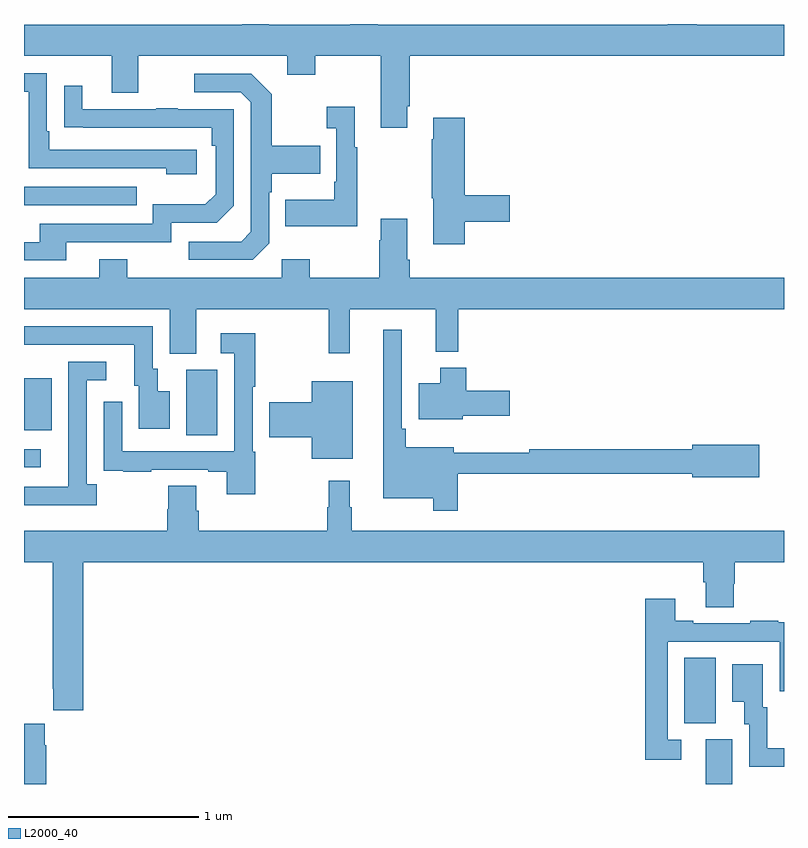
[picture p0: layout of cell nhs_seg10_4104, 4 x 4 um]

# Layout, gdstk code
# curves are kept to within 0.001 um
import gdstk
lib = gdstk.Library(unit=1e-6, precision=1e-09)
def R(c, l, rs):  # rectangles x0, y0, x1, y1
    for r in rs: c.add(gdstk.rectangle(r[:2], r[2:], *l))
def P(c, l, *ps):  # polygons
    for p in ps: c.add(gdstk.Polygon(p, *l))
L2000_40 = (2000, 40)

nhs_seg10_4104 = lib.new_cell('nhs_seg10_4104')
R(nhs_seg10_4104, L2000_40, [(342.587,1280.5,342.727,1280.736), (342.476,1280.821,342.64,1281.164), (339,1282.167,339.088,1282.263), (339.854,1282.336,340.018,1282.68), (339,1282.361,339.145,1282.636), (339,1283.547,339.593,1283.643)])
P(nhs_seg10_4104, L2000_40, [(341.017,1284.067),(341.03,1284.067),(341.03,1284.332),(343,1284.332),(343,1284.496),(342.54,1284.496),(342.54,1284.5),(342.389,1284.5),(342.389,1284.496),(340.862,1284.496),(340.862,1284.5),(340.718,1284.5),(340.718,1284.496),(340.288,1284.496),(340.288,1284.5),(340.148,1284.5),(340.148,1284.496),(339,1284.496),(339,1284.332),(339.461,1284.332),(339.461,1284.138),(339.601,1284.138),(339.601,1284.332),(340.385,1284.332),(340.385,1284.233),(340.533,1284.233),(340.533,1284.332),(340.877,1284.332),(340.877,1283.955),(341.017,1283.955)],
  [(339.91,1283.838),(339.133,1283.838),(339.133,1283.935),(339.12,1283.935),(339.12,1284.24),(339,1284.24),(339,1284.144),(339.024,1284.144),(339.024,1283.742),(339.749,1283.742),(339.749,1283.708),(339.91,1283.708)],
  [(340.29,1283.346),(340.29,1283.615),(340.303,1283.615),(340.303,1283.711),(340.559,1283.711),(340.559,1283.859),(340.303,1283.859),(340.303,1284.131),(340.197,1284.237),(339.897,1284.237),(339.897,1284.141),(340.14,1284.141),(340.194,1284.087),(340.194,1283.406),(340.143,1283.355),(339.867,1283.355),(339.867,1283.259),(340.203,1283.259)],
  [(339.223,1283.352),(339.774,1283.352),(339.774,1283.454),(340.014,1283.454),(340.104,1283.544),(340.104,1284.051),(339.809,1284.051),(339.809,1284.056),(339.697,1284.056),(339.697,1284.051),(339.307,1284.051),(339.307,1284.175),(339.211,1284.175),(339.211,1283.956),(339.988,1283.955),(339.988,1283.858),(340.008,1283.858),(340.008,1283.604),(339.955,1283.551),(339.678,1283.551),(339.678,1283.448),(339.083,1283.448),(339.083,1283.352),(339,1283.352),(339,1283.256),(339.223,1283.256)],
  [(340.753,1283.851),(340.741,1283.851),(340.741,1284.064),(340.593,1284.064),(340.593,1283.951),(340.644,1283.951),(340.644,1283.671),(340.632,1283.671),(340.632,1283.575),(340.375,1283.575),(340.375,1283.435),(340.753,1283.435)],
  [(341.321,1283.458),(341.557,1283.458),(341.557,1283.6),(341.321,1283.6),(341.321,1284.007),(341.153,1284.007),(341.153,1283.894),(341.146,1283.894),(341.146,1283.583),(341.153,1283.583),(341.153,1283.34),(341.321,1283.34)],
  [(339.907,1283),(340.605,1283),(340.605,1282.767),(340.715,1282.767),(340.715,1283),(341.168,1283),(341.168,1282.775),(341.285,1282.775),(341.285,1283),(343,1283),(343,1283.164),(341.03,1283.164),(341.03,1283.26),(341.017,1283.26),(341.017,1283.476),(340.877,1283.476),(340.877,1283.363),(340.87,1283.363),(340.87,1283.164),(340.503,1283.164),(340.503,1283.263),(340.356,1283.263),(340.356,1283.164),(339.543,1283.164),(339.543,1283.263),(339.395,1283.263),(339.395,1283.164),(339,1283.164),(339,1283),(339.767,1283),(339.767,1282.765),(339.907,1282.765)],
  [(339.766,1282.567),(339.703,1282.567),(339.703,1282.686),(339.678,1282.686),(339.678,1282.908),(339,1282.908),(339,1282.812),(339.581,1282.812),(339.581,1282.596),(339.605,1282.596),(339.605,1282.371),(339.766,1282.371)],
  [(341.282,1282.134),(342.518,1282.134),(342.518,1282.115),(342.871,1282.115),(342.871,1282.286),(342.518,1282.286),(342.518,1282.262),(341.659,1282.262),(341.659,1282.244),(341.263,1282.244),(341.263,1282.273),(341.009,1282.273),(341.009,1282.369),(340.989,1282.369),(340.989,1282.891),(340.892,1282.891),(340.892,1282.004),(341.154,1282.004),(341.154,1281.939),(341.282,1281.939)],
  [(340.216,1282.248),(340.203,1282.248),(340.203,1282.591),(340.216,1282.591),(340.216,1282.873),(340.035,1282.873),(340.035,1282.767),(340.107,1282.767),(340.107,1282.251),(339.516,1282.251),(339.516,1282.513),(339.42,1282.513),(339.42,1282.258),(339.421,1282.258),(339.421,1282.149),(339.523,1282.149),(339.523,1282.143),(339.671,1282.143),(339.671,1282.155),(339.971,1282.155),(339.971,1282.143),(340.067,1282.143),(340.067,1282.026),(340.216,1282.026)],
  [(339.382,1282.078),(339.33,1282.078),(339.33,1282.626),(339.433,1282.626),(339.433,1282.722),(339.234,1282.722),(339.234,1282.265),(339.233,1282.265),(339.233,1282.065),(339,1282.065),(339,1281.968),(339.382,1281.968)],
  [(341.31,1282.439),(341.557,1282.439),(341.557,1282.569),(341.327,1282.569),(341.327,1282.69),(341.192,1282.69),(341.192,1282.609),(341.078,1282.609),(341.078,1282.421),(341.31,1282.421)],
  [(340.729,1282.621),(340.514,1282.621),(340.514,1282.508),(340.29,1282.508),(340.29,1282.325),(340.514,1282.325),(340.514,1282.211),(340.729,1282.211)],
  [(340.726,1281.956),(340.714,1281.956),(340.714,1282.096),(340.605,1282.096),(340.605,1281.956),(340.597,1281.956),(340.597,1281.832),(339.92,1281.832),(339.92,1281.938),(339.907,1281.938),(339.907,1282.07),(339.76,1282.07),(339.76,1281.945),(339.755,1281.945),(339.755,1281.832),(339,1281.832),(339,1281.668),(339.151,1281.668),(339.151,1281.001),(339.155,1281.001),(339.155,1280.889),(339.311,1280.889),(339.311,1281.668),(342.575,1281.668),(342.575,1281.562),(342.587,1281.562),(342.587,1281.43),(342.735,1281.43),(342.735,1281.555),(342.74,1281.555),(342.74,1281.668),(343,1281.668),(343,1281.832),(340.726,1281.832)],
  [(342.46,1280.733),(342.387,1280.733),(342.387,1281.249),(342.978,1281.249),(342.978,1280.988),(343,1280.988),(343,1281.351),(342.971,1281.351),(342.971,1281.358),(342.823,1281.358),(342.823,1281.345),(342.523,1281.345),(342.523,1281.358),(342.427,1281.358),(342.427,1281.475),(342.271,1281.475),(342.271,1280.628),(342.46,1280.628)],
  [(343,1280.688),(342.913,1280.688),(342.913,1280.904),(342.889,1280.904),(342.889,1281.13),(342.728,1281.13),(342.728,1280.933),(342.791,1280.933),(342.791,1280.814),(342.816,1280.814),(342.816,1280.592),(343,1280.592)],
  [(339.116,1280.705),(339.109,1280.705),(339.109,1280.818),(339,1280.818),(339,1280.5),(339.116,1280.5)])

lib.write_gds('nhs_seg10_4104.gds')
